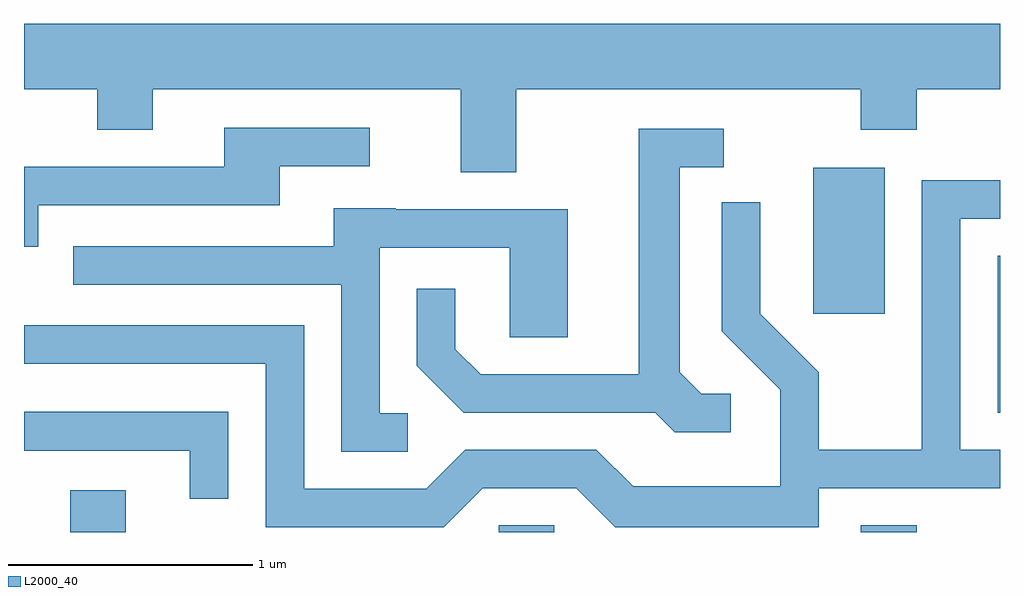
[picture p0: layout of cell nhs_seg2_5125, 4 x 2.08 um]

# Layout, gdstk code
import gdstk
lib = gdstk.Library(unit=1e-6, precision=1e-09)
def R(c, l, rs):  # rectangles x0, y0, x1, y1
    for r in rs: c.add(gdstk.rectangle(r[:2], r[2:], *l))
def P(c, l, *ps):  # polygons
    for p in ps: c.add(gdstk.Polygon(p, *l))
L2000_40 = (2000, 40)

nhs_seg2_5125 = lib.new_cell('nhs_seg2_5125')
R(nhs_seg2_5125, L2000_40, [(335.801,1079.802,336.029,1079.974), (337.556,1079.802,337.784,1079.829), (339.041,1079.802,339.269,1079.829), (339.601,1080.291,339.611,1080.934), (338.846,1080.696,339.139,1081.294)])
P(nhs_seg2_5125, L2000_40, [(337.629,1081.616),(339.041,1081.616),(339.041,1081.451),(339.269,1081.451),(339.269,1081.616),(339.611,1081.616),(339.611,1081.884),(335.611,1081.884),(335.611,1081.616),(335.911,1081.616),(335.911,1081.451),(336.139,1081.451),(336.139,1081.616),(337.401,1081.616),(337.401,1081.276),(337.629,1081.276)],
  [(335.669,1081.141),(336.659,1081.141),(336.659,1081.301),(337.028,1081.301),(337.028,1081.459),(336.431,1081.459),(336.431,1081.299),(335.611,1081.299),(335.611,1080.971),(335.669,1080.971)],
  [(338.508,1080.369),(338.387,1080.369),(338.299,1080.457),(338.299,1081.296),(338.478,1081.296),(338.478,1081.454),(338.131,1081.454),(338.131,1080.449),(337.482,1080.449),(337.379,1080.552),(337.379,1080.798),(337.221,1080.798),(337.221,1080.484),(337.414,1080.291),(338.199,1080.291),(338.279,1080.211),(338.508,1080.211)],
  [(337.492,1079.981),(337.874,1079.981),(338.034,1079.821),(338.869,1079.821),(338.869,1079.981),(339.611,1079.981),(339.611,1080.139),(339.449,1080.139),(339.449,1081.086),(339.611,1081.086),(339.611,1081.244),(339.291,1081.244),(339.291,1080.139),(338.869,1080.139),(338.869,1080.457),(338.629,1080.697),(338.629,1081.153),(338.471,1081.153),(338.471,1080.624),(338.711,1080.384),(338.711,1079.989),(338.107,1079.989),(337.957,1080.139),(337.419,1080.139),(337.259,1079.979),(336.759,1079.979),(336.759,1080.649),(335.611,1080.649),(335.611,1080.491),(336.601,1080.491),(336.601,1079.821),(337.332,1079.821)],
  [(337.183,1080.289),(337.069,1080.289),(337.069,1080.966),(337.601,1080.966),(337.601,1080.601),(337.839,1080.601),(337.839,1081.124),(337.135,1081.124),(337.135,1081.129),(336.881,1081.129),(336.881,1080.974),(335.813,1080.974),(335.813,1080.816),(336.911,1080.816),(336.911,1080.131),(337.183,1080.131)],
  [(336.449,1080.294),(335.611,1080.294),(335.611,1080.136),(336.291,1080.136),(336.291,1079.938),(336.449,1079.938)])

lib.write_gds('nhs_seg2_5125.gds')
